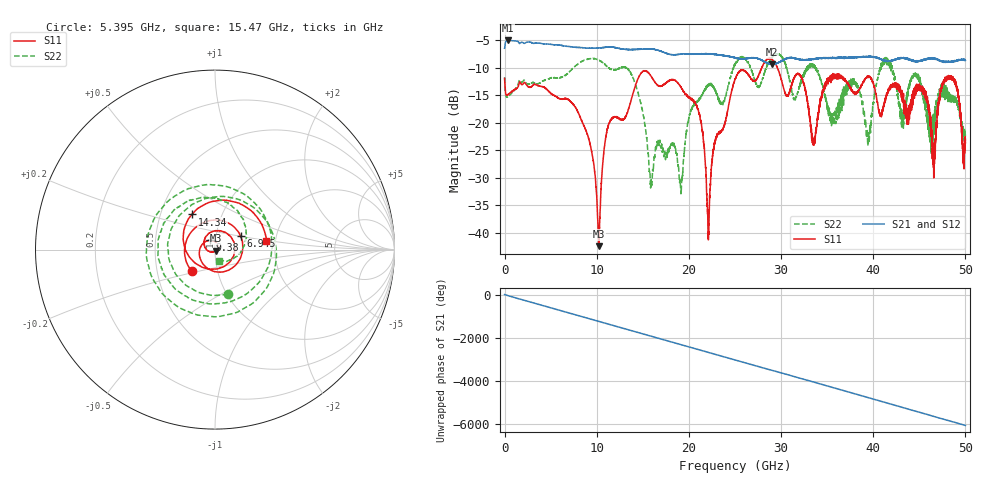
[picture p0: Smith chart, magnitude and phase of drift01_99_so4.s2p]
!Created with skrf (http://scikit-rf.org).
# Hz S RI R 50.0
!freq ReS11 ImS11 ReS21 ImS21 ReS12 ImS12 ReS22 ImS22
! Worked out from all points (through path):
!   10001 points, 300 kHz to 50 GHz, reference 50 ohm
!   highest |S21| = -5.06 dB at 395.3 MHz (marker M1); lowest = -9.4 dB at 29.02 GHz (marker M2)
!   group delay of S21, straight-line fit = 336 ps
!   lowest |S11| = -42.5 dB at 10.24 GHz (marker M3), VSWR 1.02, Z = 50.3 - j0.683 ohm
!   |S11| at or under -10 dB: start of sweep to 27.91 GHz; 29.6 GHz to end of sweep
!   |S22| runs from -32.9 to -7.5 dB; largest |S21 - S12| = 0.014
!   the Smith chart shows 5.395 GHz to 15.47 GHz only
!   S11 on the Smith chart (normalised r, x): 5.395 GHz: 0.75, -0.18; 6.945 GHz: 1.32, +0.20; 9.38 GHz: 0.94, +0.10; 14.34 GHz: 0.72, +0.30; 15.47 GHz: 1.79, +0.19
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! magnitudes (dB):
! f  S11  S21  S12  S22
! 300 kHz  -12.0  -6.5  -6.6  -11.8
! 395.3 MHz  -14.9  -5.1  -5.1  -15.2
! 5.395 GHz  -15.1  -5.9  -5.9  -11.8
! 6.945 GHz  -15.9  -6.1  -6.2  -10.9
! 8.335 GHz  -19.5  -6.4  -6.3  -8.9
! 9.38 GHz  -24.7  -6.5  -6.5  -8.4
! 10.24 GHz  -42.5  -6.4  -6.4  -8.6
! 11.24 GHz  -20.6  -6.3  -6.2  -10.0
! 14.34 GHz  -12.6  -6.7  -6.7  -13.8
! 15.47 GHz  -10.7  -6.6  -6.6  -23.6
! 16.67 GHz  -13.3  -6.9  -6.8  -23.4
! 19.13 GHz  -13.5  -7.6  -7.6  -32.9
! 20.85 GHz  -16.9  -7.5  -7.5  -16.2
! 22.13 GHz  -40.1  -7.5  -7.5  -13.3
! 25 GHz  -12.1  -8.2  -8.2  -9.4
! 29.02 GHz  -8.6  -9.4  -9.4  -8.2
! 33.34 GHz  -22.6  -8.5  -8.4  -9.6
! 39.47 GHz  -11.7  -8.0  -8.0  -22.1
! 41.67 GHz  -13.9  -8.8  -8.7  -8.9
! 46.56 GHz  -25.2  -8.3  -8.3  -21.0
! 48.52 GHz  -11.8  -8.9  -8.9  -15.1
! 50 GHz  -23.7  -8.7  -8.7  -23.0
